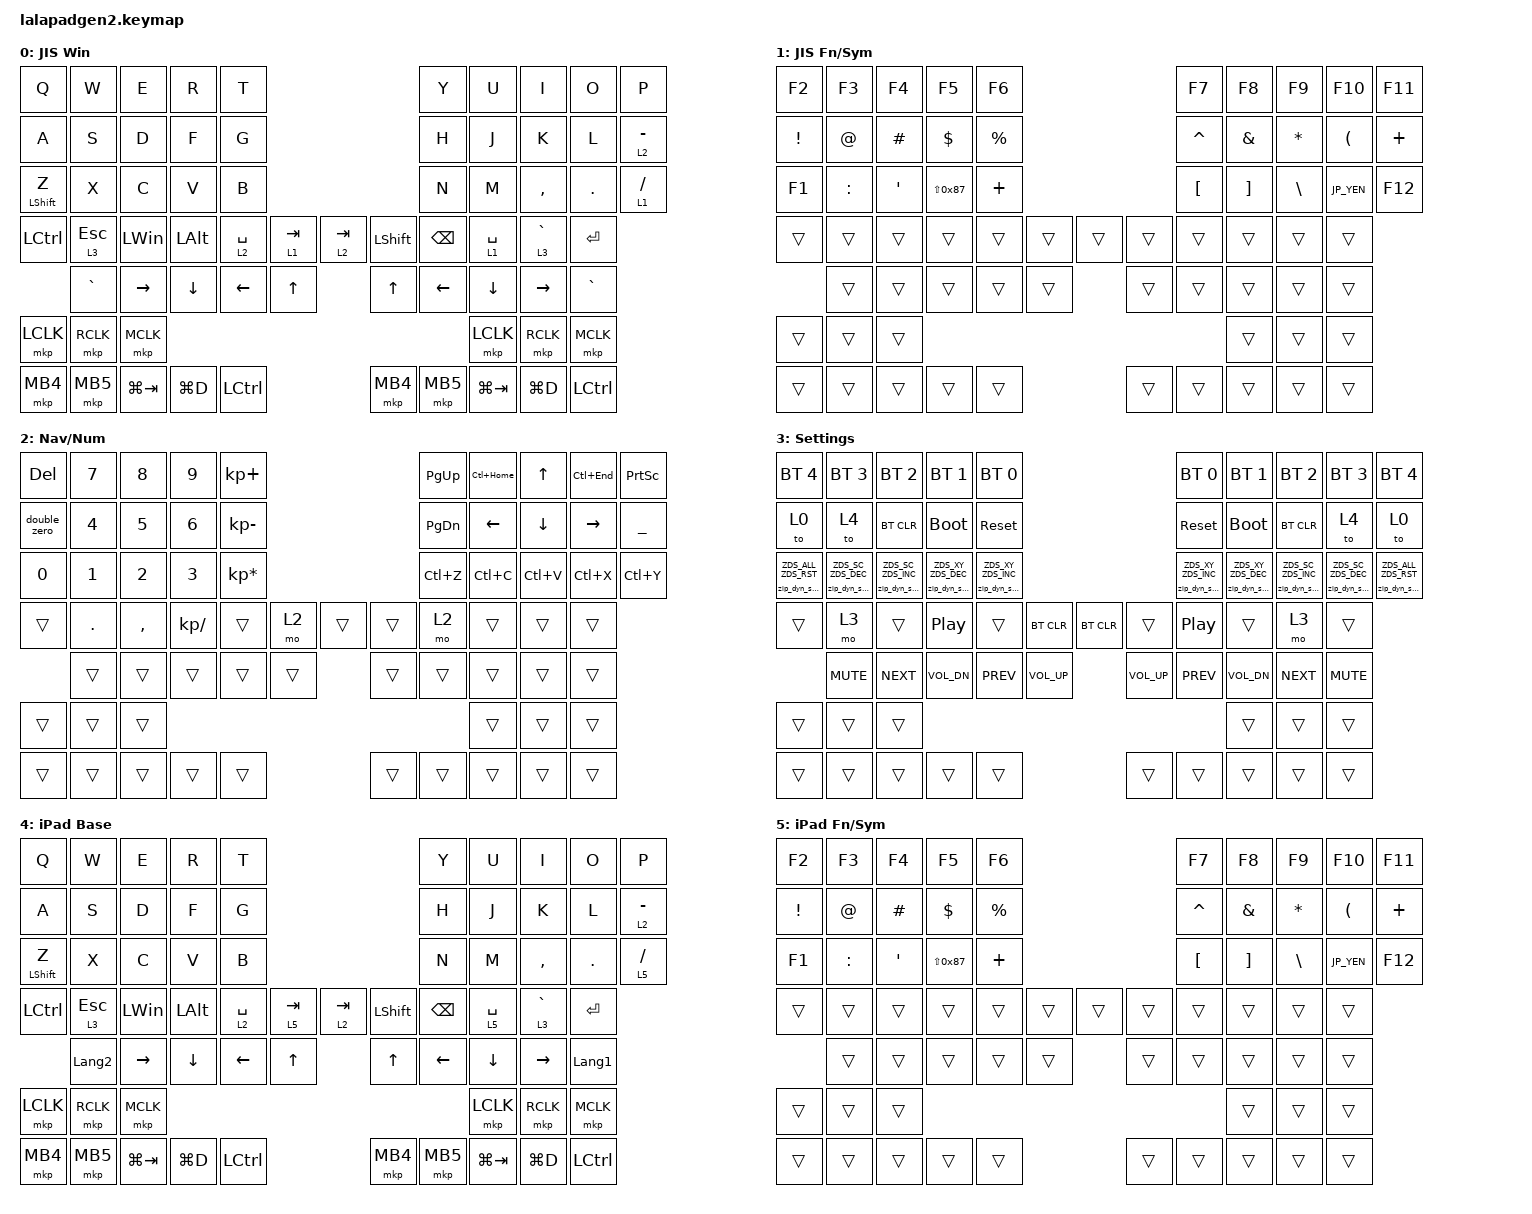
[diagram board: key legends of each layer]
// ────────────────────────────────────────────────────────────────────────────
// JIS キーコード定義
// Windows / iPad を「日本語キーボード（JIS）」設定で使う場合の変換マクロ
// ────────────────────────────────────────────────────────────────────────────
#define JP_DQUOTE       AT                // "
#define JP_AMPERSAND    CARET             // &
#define JP_QUOTE        AMPERSAND         // '
#define JP_EQUAL        UNDERSCORE        // =
#define JP_CARET        EQUAL             // ^
#define JP_YEN          0x89              // ¥
#define JP_PLUS         COLON             // +
#define JP_TILDE        PLUS              // ~
#define JP_PIPE         LS(0x89)          // |
#define JP_AT           LEFT_BRACKET      // @
#define JP_COLON        SINGLE_QUOTE      // :
#define JP_ASTERISK     DOUBLE_QUOTES     // *
#define JP_BACKQUOTE    LEFT_BRACE        // `
#define JP_UNDERSCORE   LS(0x87)          // _
#define JP_LBRACKET     RIGHT_BRACKET     // [
#define JP_RBRACKET     BSLH              // ]
#define JP_LPAREN       ASTERISK          // (
#define JP_RPAREN       LEFT_PARENTHESIS  // )
#define JP_LBRACE       RIGHT_BRACE       // {
#define JP_RBRACE       PIPE              // }

#include <input/processors.dtsi>
#include <dt-bindings/zmk/zip_dynamic_scale.h>
#include <behaviors.dtsi>
#include <dt-bindings/zmk/bt.h>
#include <dt-bindings/zmk/keys.h>
#include <dt-bindings/zmk/outputs.h>
#include <dt-bindings/zmk/pointing.h>

&mt {
    tapping-term-ms = <400>;
    quick-tap-ms = <200>;
    require-prior-idle-ms = <150>;
};
&lt {
    tapping-term-ms = <200>;
};

/ {
    behaviors {
        zip_dyn_scale: zip_dyn_scale {
            compatible = "zmk,behavior-zip-dynamic-scale";
            #binding-cells = <2>;
        };

        zip_dyn_scale_set: zip_dyn_scale_set {
            compatible = "zmk,behavior-zip-dynamic-scale-set";
            #binding-cells = <2>;
        };

    };

    macros {
        // テンキー「00」入力
        double_zero: double_zero {
            compatible = "zmk,behavior-macro";
            #binding-cells = <0>;
            bindings = <&kp N0 &kp N0>;
        };
    };

    keymap {
        compatible = "zmk,keymap";

// ════════════════════════════════════════════════════════════════════════════
// L0 : JIS Windows ベースレイヤー
//
//  ┌──── Row 0 ──────────────────────────────────────────┐
//  │  Q  │  W  │  E  │  R  │  T  ║  Y  │  U  │  I  │  O  │  P  │
//  ├──── Row 1 ──────────────────────────────────────────┤
//  │  A  │  S  │  D  │  F  │  G  ║  H  │  J  │  K  │  L  │lt2/-│
//  ├──── Row 2 ──────────────────────────────────────────┤
//  │SftZ │  X  │  C  │  V  │  B  ║  N  │  M  │  ,  │  .  │lt1/ │
//  ├──── Thumb ───────────────────────────────────────────┤
//  │LCTL│lt3/ESC│LWIN│ ALT│lt2/SPC│lt1/TAB║ LSft│BSP│lt2/TAB│lt1/SPC│lt3/全│ENT│
//  ├──── Nav ────────────────────────────────────────────┤
//  │LANG2│  →  │  ↓  │  ←  │  ↑  ║  ↑  │  ←  │  ↓  │  →  │LANG1│
// ════════════════════════════════════════════════════════════════════════════
        L0_WIN_BASE {
            display-name = "JIS Win";
            bindings = <
&kp Q          &kp W          &kp E          &kp R          &kp T                                                            &kp Y          &kp U          &kp I          &kp O          &kp P
&kp A          &kp S          &kp D          &kp F          &kp G                                                            &kp H          &kp J          &kp K          &kp L          &lt 2 MINUS
&mt LSHIFT Z   &kp X          &kp C          &kp V          &kp B                                                            &kp N          &kp M          &kp COMMA      &kp DOT        &lt 1 SLASH
&kp LCTRL      &lt 3 ESCAPE   &kp LWIN       &kp LALT       &lt 2 SPACE    &lt 1 TAB      &lt 2 TAB        &kp LEFT_SHIFT  &kp BACKSPACE  &lt 1 SPACE    &lt 3 GRAVE                    &kp ENTER
               &kp GRAVE      &kp RIGHT      &kp DOWN       &kp LEFT       &kp UP                          &kp UP          &kp LEFT       &kp DOWN       &kp RIGHT      &kp GRAVE
&mkp LCLK      &mkp RCLK      &mkp MCLK                                                                                                    &mkp LCLK      &mkp RCLK      &mkp MCLK
&mkp MB4       &mkp MB5       &kp LG(TAB)    &kp LG(D)      &kp LCTRL                                      &mkp MB4        &mkp MB5       &kp LG(TAB)    &kp LG(D)      &kp LCTRL
            >;
        };

// ════════════════════════════════════════════════════════════════════════════
// L1 : JIS Fn / 記号レイヤー
//
//  ┌──── Row 0 ──────────────────────────────────────────┐
//  │ F1  │ F2  │ F3  │ F4  │ F5  ║ F6  │ F7  │ F8  │ F9  │ F10 │
//  ├──── Row 1 ──────────────────────────────────────────┤
//  │  !  │  "  │  #  │  $  │  %  ║  &  │  '  │  (  │  )  │  ~  │
//  ├──── Row 2 ──────────────────────────────────────────┤
//  │ F11 │  +  │  :  │  _  │  ~  ║  @  │  [  │  ]  │  ¥  │ F12 │
// ════════════════════════════════════════════════════════════════════════════
        L1_JIS_SYM {
            display-name = "JIS Fn/Sym";
            bindings = <
&kp F2         &kp F3         &kp F4         &kp F5         &kp F6                                                           &kp F7         &kp F8         &kp F9         &kp F10        &kp F11
&kp EXCL       &kp JP_DQUOTE  &kp HASH       &kp DOLLAR     &kp PERCENT                                                      &kp JP_AMPERSAND &kp JP_QUOTE &kp JP_LPAREN  &kp JP_RPAREN  &kp JP_TILDE
&kp F1         &kp JP_PLUS    &kp JP_COLON   &kp JP_UNDERSCORE &kp JP_TILDE                                                  &kp JP_AT      &kp JP_LBRACKET &kp JP_RBRACKET &kp JP_YEN  &kp F12
&trans         &trans         &trans         &trans         &trans         &trans         &trans           &trans          &trans         &trans         &trans                         &trans
               &trans         &trans         &trans         &trans         &trans                          &trans          &trans         &trans         &trans         &trans
&trans         &trans         &trans                                                                                                       &trans         &trans         &trans
&trans         &trans         &trans         &trans         &trans                                         &trans          &trans         &trans         &trans         &trans
            >;
        };

// ════════════════════════════════════════════════════════════════════════════
// L2 : Nav / 数字レイヤー
//
//  ┌──── Row 0 ───────────────────────────────────────────────────────────┐
//  │ DEL │  7  │  8  │  9  │  +  ║ PgUp│C+Hm │  ↑  │C+End│PrtSc│
//  ├──── Row 1 ───────────────────────────────────────────────────────────┤
//  │  00 │  4  │  5  │  6  │  -  ║ PgDn│  ←  │  ↓  │  →  │  =  │
//  ├──── Row 2 ───────────────────────────────────────────────────────────┤
//  │  0  │  1  │  2  │  3  │  *  ║C+Z  │C+C  │C+V  │C+X  │C+Y  │
//  ├──── Thumb ───────────────────────────────────────────────────────────┤
//  │---  │  .  │  ,  │  /  │---  │[L2] ║ --- │ --- │[L2] │ --- │ --- │ ---│
// ════════════════════════════════════════════════════════════════════════════
        L2_NAV_NUM {
            display-name = "Nav/Num";
            bindings = <
&kp DEL        &kp N7         &kp N8         &kp N9         &kp KP_PLUS                                                      &kp PG_UP      &kp LC(HOME)   &kp UP         &kp LC(END)    &kp PRINTSCREEN
&double_zero   &kp N4         &kp N5         &kp N6         &kp KP_MINUS                                                     &kp PG_DN      &kp LEFT       &kp DOWN       &kp RIGHT      &kp JP_EQUAL
&kp N0         &kp N1         &kp N2         &kp N3         &kp KP_MULTIPLY                                                  &kp LC(Z)      &kp LC(C)      &kp LC(V)      &kp LC(X)      &kp LC(Y)
&trans         &kp DOT        &kp COMMA      &kp KP_DIVIDE  &trans         &mo 2          &trans           &trans          &mo 2          &trans         &trans                         &trans
               &trans         &trans         &trans         &trans         &trans                          &trans          &trans         &trans         &trans         &trans
&trans         &trans         &trans                                                                                                       &trans         &trans         &trans
&trans         &trans         &trans         &trans         &trans                                         &trans          &trans         &trans         &trans         &trans
            >;
        };

// ════════════════════════════════════════════════════════════════════════════
// L3 : 設定レイヤー（左右対称配置）
//
//  ┌──── Row 0 : BT 選択 ────────────────────────────────────────────────┐
//  │ BT4 │ BT3 │ BT2 │ BT1 │ BT0 ║ BT0 │ BT1 │ BT2 │ BT3 │ BT4 │
//  ├──── Row 1 : OS切替 / BT操作 ────────────────────────────────────────┤
//  │ WIN │ iPad│BTCLR│boot │Reset║Reset│boot │BTCLR│ iPad│ WIN │
//  ├──── Row 2 : トラックパッド速度 ─────────────────────────────────────┤
//  │全RST│ SC↓ │ SC↑ │ XY↓ │ XY↑ ║ XY↑ │ XY↓ │ SC↑ │ SC↓ │全RST│
//  ├──── Thumb ────────────────────────────────────────────────────────────┤
//  │---  │[L3] │ --- │C_PP │ --- │BTCLR║BTCLR│ --- │C_PP │ --- │[L3]│ ---│
//  ├──── Nav : メディア操作 ─────────────────────────────────────────────┤
//  │Mute │ ⏭   │Vol↓ │ ⏮   │Vol↑ ║Vol↑ │ ⏮   │Vol↓ │ ⏭   │Mute │
// ════════════════════════════════════════════════════════════════════════════
        L3_SETTINGS {
            display-name = "Settings";
            bindings = <
&bt BT_SEL 4   &bt BT_SEL 3   &bt BT_SEL 2   &bt BT_SEL 1   &bt BT_SEL 0                                                   &bt BT_SEL 0   &bt BT_SEL 1   &bt BT_SEL 2   &bt BT_SEL 3   &bt BT_SEL 4
&to 0          &to 4          &bt BT_CLR     &bootloader    &sys_reset                                                       &sys_reset     &bootloader    &bt BT_CLR     &to 4          &to 0
&zip_dyn_scale ZDS_ALL ZDS_RST  &zip_dyn_scale ZDS_SC ZDS_DEC  &zip_dyn_scale ZDS_SC ZDS_INC  &zip_dyn_scale ZDS_XY ZDS_DEC  &zip_dyn_scale ZDS_XY ZDS_INC   &zip_dyn_scale ZDS_XY ZDS_INC  &zip_dyn_scale ZDS_XY ZDS_DEC  &zip_dyn_scale ZDS_SC ZDS_INC  &zip_dyn_scale ZDS_SC ZDS_DEC  &zip_dyn_scale ZDS_ALL ZDS_RST
&trans         &mo 3          &trans         &kp C_PP       &trans         &bt BT_CLR     &bt BT_CLR       &trans          &kp C_PP       &trans         &mo 3                          &trans
               &kp C_MUTE     &kp C_NEXT     &kp C_VOL_DN   &kp C_PREV     &kp C_VOL_UP                    &kp C_VOL_UP    &kp C_PREV     &kp C_VOL_DN   &kp C_NEXT     &kp C_MUTE
&trans         &trans         &trans                                                                                                       &trans         &trans         &trans
&trans         &trans         &trans         &trans         &trans                                         &trans          &trans         &trans         &trans         &trans
            >;
        };

// ════════════════════════════════════════════════════════════════════════════
// L4 : iPad ベースレイヤー
// L0 と同一配列。lt1 → L5、lt2 → L2（共有）、lt3 → L3（共有）
// ════════════════════════════════════════════════════════════════════════════
        L4_IPAD_BASE {
            display-name = "iPad Base";
            bindings = <
&kp Q          &kp W          &kp E          &kp R          &kp T                                                            &kp Y          &kp U          &kp I          &kp O          &kp P
&kp A          &kp S          &kp D          &kp F          &kp G                                                            &kp H          &kp J          &kp K          &kp L          &lt 2 MINUS
&mt LSHIFT Z   &kp X          &kp C          &kp V          &kp B                                                            &kp N          &kp M          &kp COMMA      &kp DOT        &lt 5 SLASH
&kp LCTRL      &lt 3 ESCAPE   &kp LWIN       &kp LALT       &lt 2 SPACE    &lt 5 TAB      &lt 2 TAB        &kp LEFT_SHIFT  &kp BACKSPACE  &lt 5 SPACE    &lt 3 GRAVE                    &kp ENTER
               &kp LANGUAGE_2 &kp RIGHT      &kp DOWN       &kp LEFT       &kp UP                          &kp UP          &kp LEFT       &kp DOWN       &kp RIGHT      &kp LANGUAGE_1
&mkp LCLK      &mkp RCLK      &mkp MCLK                                                                                                    &mkp LCLK      &mkp RCLK      &mkp MCLK
&mkp MB4       &mkp MB5       &kp LG(TAB)    &kp LG(D)      &kp LCTRL                                      &mkp MB4        &mkp MB5       &kp LG(TAB)    &kp LG(D)      &kp LCTRL
            >;
        };

// ════════════════════════════════════════════════════════════════════════════
// L5 : iPad Fn / 記号レイヤー（L1 と同一内容）
// JP_ コードは iPad の「日本語ハードウェアキーボード」設定でも同様に動作する
// ════════════════════════════════════════════════════════════════════════════
        L5_IPAD_SYM {
            display-name = "iPad Fn/Sym";
            bindings = <
&kp F2         &kp F3         &kp F4         &kp F5         &kp F6                                                           &kp F7         &kp F8         &kp F9         &kp F10        &kp F11
&kp EXCL       &kp JP_DQUOTE  &kp HASH       &kp DOLLAR     &kp PERCENT                                                      &kp JP_AMPERSAND &kp JP_QUOTE &kp JP_LPAREN  &kp JP_RPAREN  &kp JP_TILDE
&kp F1         &kp JP_PLUS    &kp JP_COLON   &kp JP_UNDERSCORE &kp JP_TILDE                                                  &kp JP_AT      &kp JP_LBRACKET &kp JP_RBRACKET &kp JP_YEN  &kp F12
&trans         &trans         &trans         &trans         &trans         &trans         &trans           &trans          &trans         &trans         &trans                         &trans
               &trans         &trans         &trans         &trans         &trans                          &trans          &trans         &trans         &trans         &trans
&trans         &trans         &trans                                                                                                       &trans         &trans         &trans
&trans         &trans         &trans         &trans         &trans                                         &trans          &trans         &trans         &trans         &trans
            >;
        };
    };

};
